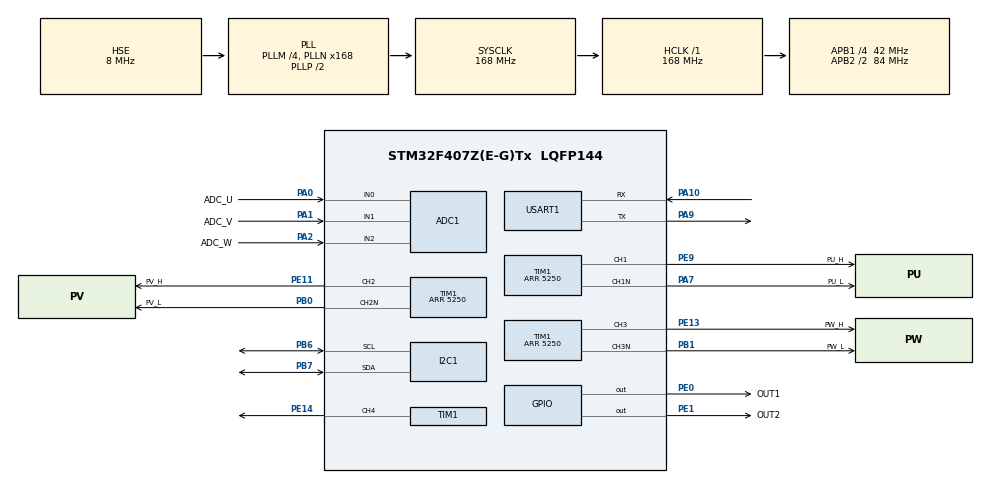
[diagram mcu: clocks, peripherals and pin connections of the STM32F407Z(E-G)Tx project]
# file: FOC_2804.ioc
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ADC1.Channel-0\#ChannelRegularConversion=ADC_CHANNEL_1
ADC1.Channel-1\#ChannelInjectedConversion=ADC_CHANNEL_1
ADC1.Channel-2\#ChannelInjectedConversion=ADC_CHANNEL_2
ADC1.Channel-3\#ChannelInjectedConversion=ADC_CHANNEL_0
ADC1.DataAlign=ADC_DATAALIGN_LEFT
ADC1.EOCSelection=ADC_EOC_SINGLE_CONV
ADC1.ExternalTrigInjecConv=ADC_EXTERNALTRIGINJECCONV_T1_CC4
ADC1.ExternalTrigInjecConvEdge=ADC_EXTERNALTRIGINJECCONVEDGE_RISING
ADC1.InjNumberOfConversion=3
ADC1.InjectedConvMode=None
ADC1.InjectedOffset-1\#ChannelInjectedConversion=0
ADC1.InjectedOffset-2\#ChannelInjectedConversion=0
ADC1.InjectedOffset-3\#ChannelInjectedConversion=0
ADC1.InjectedRank-1\#ChannelInjectedConversion=1
ADC1.InjectedRank-2\#ChannelInjectedConversion=2
ADC1.InjectedRank-3\#ChannelInjectedConversion=3
ADC1.NbrOfConversion=1
ADC1.NbrOfConversionFlag=1
ADC1.Rank-0\#ChannelRegularConversion=1
ADC1.SamplingTime-0\#ChannelRegularConversion=ADC_SAMPLETIME_3CYCLES
ADC1.SamplingTime-1\#ChannelInjectedConversion=ADC_SAMPLETIME_3CYCLES
ADC1.SamplingTime-2\#ChannelInjectedConversion=ADC_SAMPLETIME_3CYCLES
ADC1.SamplingTime-3\#ChannelInjectedConversion=ADC_SAMPLETIME_3CYCLES
ADC1.ScanConvMode=ENABLE
ADC1.master=1
I2C1.I2C_Mode=I2C_Fast
Mcu.Family=STM32F4
Mcu.Name=STM32F407Z(E-G)Tx
Mcu.Package=LQFP144
NVIC.ADC_IRQn=true\:2\:0\:true\:false\:true\:true\:true\:true
NVIC.PriorityGroup=NVIC_PRIORITYGROUP_4
NVIC.TIM1_UP_TIM10_IRQn=true\:0\:0\:true\:false\:true\:true\:true\:true
NVIC.TIM6_DAC_IRQn=true\:3\:0\:true\:false\:true\:true\:true\:true
NVIC.USART1_IRQn=true\:1\:0\:true\:false\:true\:true\:true\:true
PA0-WKUP.GPIO_Label=ADC_U
PA0-WKUP.Signal=ADCx_IN0
PA1.GPIO_Label=ADC_V
PA1.Signal=ADCx_IN1
PA10.Mode=Asynchronous
PA10.Signal=USART1_RX
PA13.Mode=Serial_Wire
PA13.Signal=SYS_JTMS-SWDIO
PA14.Mode=Serial_Wire
PA14.Signal=SYS_JTCK-SWCLK
PA2.GPIO_Label=ADC_W
PA2.Signal=ADCx_IN2
PA7.GPIO_Label=PU_L
PA7.GPIO_Speed=GPIO_SPEED_FREQ_HIGH
PA7.Mode=PWM Generation1 CH1 CH1N
PA7.Signal=TIM1_CH1N
PA9.Mode=Asynchronous
PA9.Signal=USART1_TX
PB0.GPIO_Label=PV_L
PB0.GPIO_Speed=GPIO_SPEED_FREQ_HIGH
PB0.Mode=PWM Generation2 CH2 CH2N
PB0.Signal=TIM1_CH2N
PB1.GPIO_Label=PW_L
PB1.GPIO_Speed=GPIO_SPEED_FREQ_HIGH
PB1.Mode=PWM Generation3 CH3 CH3N
PB1.Signal=TIM1_CH3N
PB6.Mode=I2C
PB6.Signal=I2C1_SCL
PB7.Mode=I2C
PB7.Signal=I2C1_SDA
PE0.GPIO_Label=OUT1
PE0.GPIO_PuPd=GPIO_NOPULL
PE0.GPIO_Speed=GPIO_SPEED_FREQ_VERY_HIGH
PE0.PinState=GPIO_PIN_SET
PE0.Signal=GPIO_Output
PE1.GPIO_Label=OUT2
PE1.GPIO_Speed=GPIO_SPEED_FREQ_VERY_HIGH
PE1.PinState=GPIO_PIN_SET
PE1.Signal=GPIO_Output
PE11.GPIO_Label=PV_H
PE11.GPIO_Speed=GPIO_SPEED_FREQ_HIGH
PE11.Signal=S_TIM1_CH2
PE13.GPIO_Label=PW_H
PE13.GPIO_Speed=GPIO_SPEED_FREQ_HIGH
PE13.Signal=S_TIM1_CH3
PE14.Signal=S_TIM1_CH4
PE9.GPIO_Label=PU_H
PE9.GPIO_Speed=GPIO_SPEED_FREQ_HIGH
PE9.Signal=S_TIM1_CH1
PH0-OSC_IN.Mode=HSE-External-Oscillator
PH0-OSC_IN.Signal=RCC_OSC_IN
PH1-OSC_OUT.Mode=HSE-External-Oscillator
PH1-OSC_OUT.Signal=RCC_OSC_OUT
ProjectManager.HeapSize=0x200
ProjectManager.StackSize=0x400
ProjectManager.TargetToolchain=MDK-ARM V5.32
RCC.48MHZClocksFreq_Value=84000000
RCC.AHBFreq_Value=168000000
RCC.APB1CLKDivider=RCC_HCLK_DIV4
RCC.APB1Freq_Value=42000000
RCC.APB1TimFreq_Value=84000000
RCC.APB2CLKDivider=RCC_HCLK_DIV2
RCC.APB2Freq_Value=84000000
RCC.APB2TimFreq_Value=168000000
RCC.CortexFreq_Value=168000000
RCC.HCLKFreq_Value=168000000
RCC.HSE_VALUE=8000000
RCC.HSI_VALUE=16000000
RCC.LSE_VALUE=32768
RCC.PLLM=4
RCC.PLLN=168
RCC.PLLSourceVirtual=RCC_PLLSOURCE_HSE
RCC.SYSCLKFreq_VALUE=168000000
RCC.SYSCLKSource=RCC_SYSCLKSOURCE_PLLCLK
RCC.VCOOutputFreq_Value=336000000
SH.ADCx_IN0.0=ADC1_IN0,IN0
SH.ADCx_IN1.0=ADC1_IN1,IN1
SH.ADCx_IN2.0=ADC1_IN2,IN2
SH.S_TIM1_CH1.0=TIM1_CH1,PWM Generation1 CH1 CH1N
SH.S_TIM1_CH2.0=TIM1_CH2,PWM Generation2 CH2 CH2N
SH.S_TIM1_CH3.0=TIM1_CH3,PWM Generation3 CH3 CH3N
SH.S_TIM1_CH4.0=TIM1_CH4,PWM Generation4 CH4
STMicroelectronics.X-CUBE-ALGOBUILD.1.4.0.LibraryCcDSPOoLibraryJjDSPOoLibrary=true
TIM1.AutoReloadPreload=TIM_AUTORELOAD_PRELOAD_ENABLE
TIM1.Channel-PWM\ Generation1\ CH1\ CH1N=TIM_CHANNEL_1
TIM1.Channel-PWM\ Generation2\ CH2\ CH2N=TIM_CHANNEL_2
TIM1.Channel-PWM\ Generation3\ CH3\ CH3N=TIM_CHANNEL_3
TIM1.Channel-PWM\ Generation4\ CH4=TIM_CHANNEL_4
TIM1.ClockDivision=TIM_CLOCKDIVISION_DIV2
TIM1.CounterMode=TIM_COUNTERMODE_CENTERALIGNED1
TIM1.DeadTime=16
TIM1.LockLevel=TIM_LOCKLEVEL_1
TIM1.OCMode_PWM-PWM\ Generation4\ CH4=TIM_OCMODE_PWM2
TIM1.OCNIdleState_1=TIM_OCNIDLESTATE_RESET
TIM1.OCNIdleState_2=TIM_OCNIDLESTATE_RESET
TIM1.OCNIdleState_3=TIM_OCNIDLESTATE_RESET
TIM1.OCNPolarity_1=TIM_OCNPOLARITY_HIGH
TIM1.OCNPolarity_2=TIM_OCNPOLARITY_HIGH
TIM1.OCNPolarity_3=TIM_OCNPOLARITY_HIGH
TIM1.OffStateIDLEMode=TIM_OSSI_ENABLE
TIM1.OffStateRunMode=TIM_OSSR_ENABLE
TIM1.Period=5250
TIM1.Pulse-PWM\ Generation4\ CH4=5250-100
TIM1.TIM_MasterOutputTrigger=TIM_TRGO_OC4REF
TIM6.AutoReloadPreload=TIM_AUTORELOAD_PRELOAD_ENABLE
TIM6.Period=1000-1
TIM6.Prescaler=168-1
USART1.VirtualMode=VM_ASYNC
VP_STMicroelectronics.X-CUBE-ALGOBUILD_VS_DSPOoLibraryJjLibrary_1.4.0_1.4.0.Mode=DSPOoLibraryJjLibrary
VP_TIM1_VS_ClockSourceINT.Mode=Internal
VP_TIM6_VS_ClockSourceINT.Mode=Enable_Timer
board=custom

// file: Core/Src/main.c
/* USER CODE BEGIN Header */
/**
 ******************************************************************************
 * @file           : main.c
 * @brief          : Main program body
 ******************************************************************************
 * @attention
 *
 * Copyright (c) 2024 STMicroelectronics.
 * All rights reserved.
 *
 * This software is licensed under terms that can be found in the LICENSE file
 * in the root directory of this software component.
 * If no LICENSE file comes with this software, it is provided AS-IS.
 *
 ******************************************************************************
 */
/* USER CODE END Header */
#include "main.h"
#include "adc.h"
#include "gpio.h"
#include "i2c.h"
#include "tim.h"
#include "usart.h"

/* USER CODE BEGIN Includes */
#include "arm_math.h"
#include "stdint.h"
#include "stdlib.h"
#include <math.h>

#include "bsp_as5600.h"
#include "bsp_cmd.h"
#include "bsp_dwt.h"
#include "bsp_foc.h"
#include "bsp_usart.h"

/* USER CODE END Includes */

/* USER CODE BEGIN PTD */

#define FPU_DEBUG 1

/* USER CODE END PTD */

/* USER CODE BEGIN PV */

#ifdef FPU_DEBUG
float fpu_test = 0;
#endif // FPU_DEBUG 1
extern uint32_t tim6_uptate_over;
/* USER CODE END PV */

void SystemClock_Config(void);

/* USER CODE BEGIN 0 */

foc_handler foc_data_handler;
static uint32_t cnt_10ms = 0;
/* USER CODE END 0 */

int main(void)
{

    /* MCU Configuration--------------------------------------------------------*/

    /* Reset of all peripherals, Initializes the Flash interface and the Systick. */
    HAL_Init();

    /* Configure the system clock */
    SystemClock_Config();

    /* Initialize all configured peripherals */
    MX_GPIO_Init();
    MX_ADC1_Init();
    MX_I2C1_Init();
    MX_TIM1_Init();
    MX_USART1_UART_Init();
    MX_TIM6_Init();
    /* USER CODE BEGIN 2 */

#ifdef FPU_DEBUG
    fpu_test = arm_cos_f32(3.1415926 / 3); // cos(60)
#endif
    DWT_Init(168);
    bsp_as5600Init();
    HAL_Delay(1000);

    // printf("FOC2804 Application\r\n");
    USART_Init();

    foc_data_handler.m_dir = MOTOR_CW;
    TIM1_PWM_Init();
    /* USER CODE END 2 */

    /* Infinite loop */
    while (1) {

        /* USER CODE BEGIN 3 */
        cmd();
        if (tim6_uptate_over % 2 == 0)
            printf("%d\n", TIM1->CCR1);
    }
    /* USER CODE END 3 */
}

void SystemClock_Config(void)
{
    RCC_OscInitTypeDef RCC_OscInitStruct = {0};
    RCC_ClkInitTypeDef RCC_ClkInitStruct = {0};

    /** Configure the main internal regulator output voltage
     */
    __HAL_RCC_PWR_CLK_ENABLE();
    __HAL_PWR_VOLTAGESCALING_CONFIG(PWR_REGULATOR_VOLTAGE_SCALE1);

    /** Initializes the RCC Oscillators according to the specified parameters
     * in the RCC_OscInitTypeDef structure.
     */
    RCC_OscInitStruct.OscillatorType = RCC_OSCILLATORTYPE_HSE;
    RCC_OscInitStruct.HSEState = RCC_HSE_ON;
    RCC_OscInitStruct.PLL.PLLState = RCC_PLL_ON;
    RCC_OscInitStruct.PLL.PLLSource = RCC_PLLSOURCE_HSE;
    RCC_OscInitStruct.PLL.PLLM = 4;
    RCC_OscInitStruct.PLL.PLLN = 168;
    RCC_OscInitStruct.PLL.PLLP = RCC_PLLP_DIV2;
    RCC_OscInitStruct.PLL.PLLQ = 4;
    if (HAL_RCC_OscConfig(&RCC_OscInitStruct) != HAL_OK) {
        Error_Handler();
    }

    /** Initializes the CPU, AHB and APB buses clocks
     */
    RCC_ClkInitStruct.ClockType = RCC_CLOCKTYPE_HCLK | RCC_CLOCKTYPE_SYSCLK | RCC_CLOCKTYPE_PCLK1 | RCC_CLOCKTYPE_PCLK2;
    RCC_ClkInitStruct.SYSCLKSource = RCC_SYSCLKSOURCE_PLLCLK;
    RCC_ClkInitStruct.AHBCLKDivider = RCC_SYSCLK_DIV1;
    RCC_ClkInitStruct.APB1CLKDivider = RCC_HCLK_DIV4;
    RCC_ClkInitStruct.APB2CLKDivider = RCC_HCLK_DIV2;

    if (HAL_RCC_ClockConfig(&RCC_ClkInitStruct, FLASH_LATENCY_5) != HAL_OK) {
        Error_Handler();
    }
}

void Error_Handler(void)
{
    __disable_irq();
    while (1) {
    }
}
